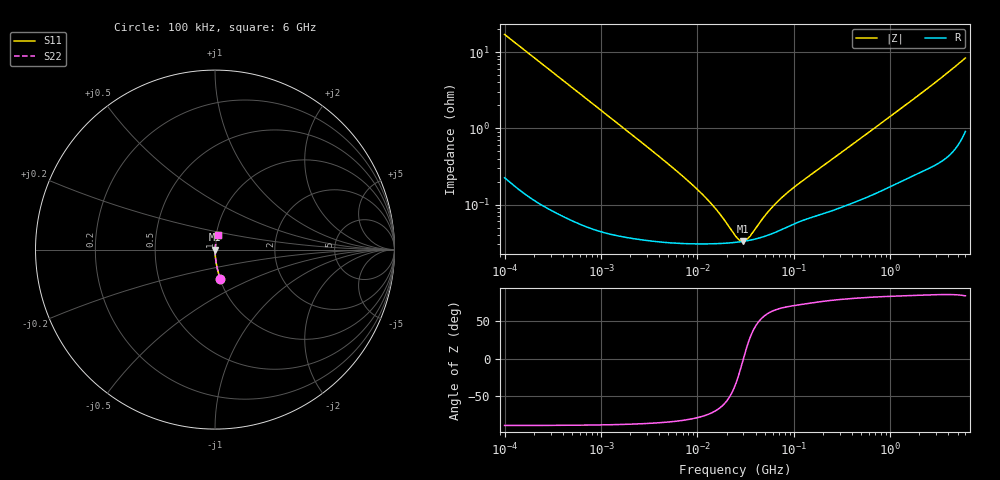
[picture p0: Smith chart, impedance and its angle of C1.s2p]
!Murata Part Number: GRM152B30J104KE19
!These Parameters are Measured in Series Mode Connection
!  o--ll--o
!Port1  Port2
!  o------o
!Operation Temp=25[C], DC Bias Voltage=0[V]
!Freq. Start=100[kHz] Stop=6000000[kHz] 401[Steps]
# Hz S RI R 50
!Freq.(Hz) S11(Real) S11(Imag) S21(Real) S21(Imag) S12(Real) S12(Imag) S22(Real) S22(Imag)
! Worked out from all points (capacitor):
!   401 points, 100 kHz to 6 GHz, reference 50 ohm
!   read as one part in series: C = 93.6 nF near 105.7 kHz
!   lowest |Z| = 32.9 mohm at 29.7 MHz (marker M1)
!   series resonance near 29.97 MHz, so ESL is about 300 pH
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100000  0.0301 -0.1643  0.9699 0.1643  0.9699 0.1643  0.0301 -0.1643
105655  0.0271 -0.1561  0.9729 0.1561  0.9729 0.1561  0.0271 -0.1561
151071  0.014 -0.111  0.986 0.111  0.986 0.111  0.014 -0.111
228224  0.00657 -0.0742  0.9934 0.0742  0.9934 0.0742  0.00657 -0.0742
631452  0.00128 -0.0271  0.9987 0.0271  0.9987 0.0271  0.00128 -0.0271
3987316  0.000342 -0.00427  0.9997 0.00427  0.9997 0.00427  0.000342 -0.00427
7715601  0.000311 -0.0021  0.9997 0.0021  0.9997 0.0021  0.000311 -0.0021
1.231519e7  0.000306 -0.00117  0.9997 0.00117  0.9997 0.00117  0.000306 -0.00117
1.713112e7  0.000309 -0.000681  0.9997 0.000681  0.9997 0.000681  0.000309 -0.000681
2.517799e7  0.00032 -0.000201  0.9997 0.000201  0.9997 0.000201  0.00032 -0.000201
2.734369e7  0.000324 -0.000105  0.9997 0.000105  0.9997 0.000105  0.000324 -0.000105
2.969568e7  0.000329 -1.03e-05  0.9997 1.03e-05  0.9997 1.03e-05  0.000329 -1.03e-05
3.137502e7  0.000332 5.28e-05  0.9997 -5.28e-05  0.9997 -5.28e-05  0.000332 5.28e-05
3.407377e7  0.000339 0.000148  0.9997 -0.000148  0.9997 -0.000148  0.000339 0.000148
5.147553e7  0.000389 0.000638  0.9996 -0.000638  0.9996 -0.000638  0.000389 0.000638
6.966265e7  0.000453 0.00104  0.9995 -0.00104  0.9995 -0.00104  0.000453 0.00104
9.690463e7  0.000548 0.00154  0.9995 -0.00154  0.9995 -0.00154  0.000548 0.00154
1.546735e8  0.000687 0.00244  0.9993 -0.00244  0.9993 -0.00244  0.000687 0.00244
9.76689e8  0.00188 0.0139  0.9981 -0.0139  0.9981 -0.0139  0.00188 0.0139
2.77767e9  0.00458 0.0375  0.9954 -0.0375  0.9954 -0.0375  0.00458 0.0375
5.678851e9  0.0137 0.0767  0.9863 -0.0767  0.9863 -0.0767  0.0137 0.0767
6e9  0.0157 0.081  0.9843 -0.081  0.9843 -0.081  0.0157 0.081
